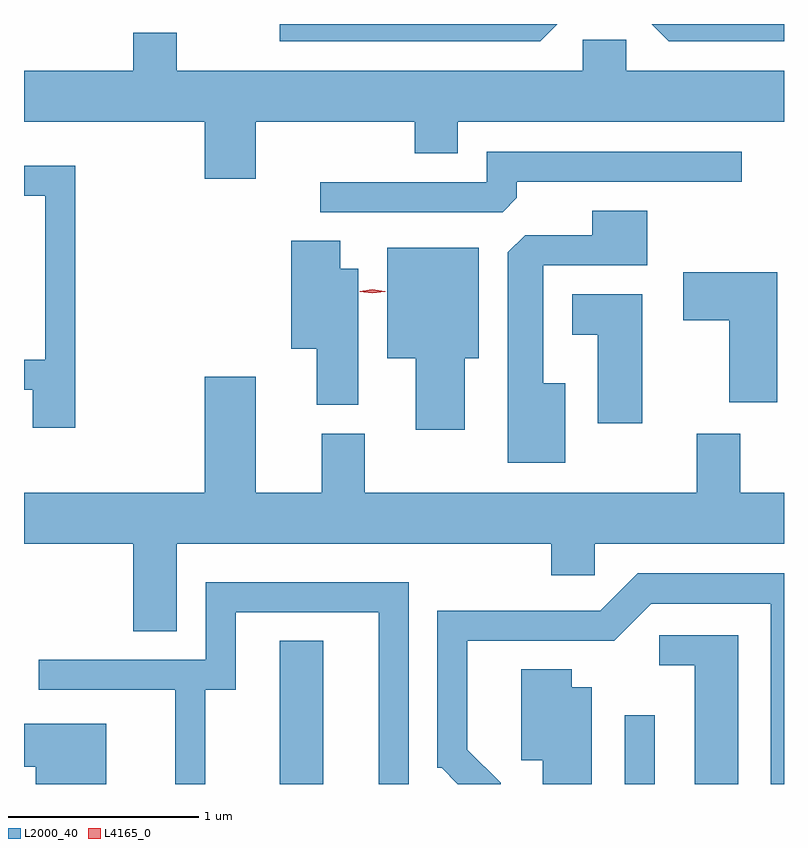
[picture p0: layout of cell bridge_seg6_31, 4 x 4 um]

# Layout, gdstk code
import gdstk
lib = gdstk.Library(unit=1e-6, precision=1e-09)
def R(c, l, rs):  # rectangles x0, y0, x1, y1
    for r in rs: c.add(gdstk.rectangle(r[:2], r[2:], *l))
def P(c, l, *ps):  # polygons
    for p in ps: c.add(gdstk.Polygon(p, *l))
L2000_40 = (2000, 40)
L4165_0 = (4165, 0)

bridge_seg6_31 = lib.new_cell('bridge_seg6_31')
R(bridge_seg6_31, L2000_40, [(1833.851,1646.451,1834.079,1647.204), (1835.666,1646.451,1835.824,1646.813)])
P(bridge_seg6_31, L2000_40, [(1835.312,1650.451),(1833.851,1650.451),(1833.851,1650.361),(1835.222,1650.361)],
  [(1836.505,1650.451),(1835.809,1650.451),(1835.899,1650.361),(1836.505,1650.361)],
  [(1833.724,1649.936),(1834.561,1649.936),(1834.561,1649.771),(1834.789,1649.771),(1834.789,1649.936),(1836.505,1649.936),(1836.505,1650.204),(1835.674,1650.204),(1835.674,1650.369),(1835.446,1650.369),(1835.446,1650.204),(1833.309,1650.204),(1833.309,1650.404),(1833.081,1650.404),(1833.081,1650.204),(1832.505,1650.204),(1832.505,1649.936),(1833.456,1649.936),(1833.456,1649.636),(1833.724,1649.636)],
  [(1835.099,1649.537),(1835.099,1649.621),(1836.283,1649.621),(1836.283,1649.779),(1834.941,1649.779),(1834.941,1649.619),(1834.063,1649.619),(1834.063,1649.461),(1835.024,1649.461)],
  [(1832.774,1649.704),(1832.505,1649.704),(1832.505,1649.546),(1832.616,1649.546),(1832.616,1648.684),(1832.505,1648.684),(1832.505,1648.526),(1832.551,1648.526),(1832.551,1648.326),(1832.774,1648.326)],
  [(1835.354,1648.559),(1835.239,1648.559),(1835.239,1649.181),(1835.784,1649.181),(1835.784,1649.469),(1835.496,1649.469),(1835.496,1649.339),(1835.142,1649.339),(1835.051,1649.249),(1835.051,1648.141),(1835.354,1648.141)],
  [(1834.264,1649.164),(1834.169,1649.164),(1834.169,1649.309),(1833.911,1649.309),(1833.911,1648.741),(1834.046,1648.741),(1834.046,1648.446),(1834.264,1648.446)],
  [(1834.824,1648.691),(1834.899,1648.691),(1834.899,1649.274),(1834.416,1649.274),(1834.416,1648.691),(1834.566,1648.691),(1834.566,1648.316),(1834.824,1648.316)],
  [(1836.469,1649.144),(1835.976,1649.144),(1835.976,1648.891),(1836.216,1648.891),(1836.216,1648.461),(1836.469,1648.461)],
  [(1835.759,1649.029),(1835.391,1649.029),(1835.391,1648.816),(1835.526,1648.816),(1835.526,1648.351),(1835.759,1648.351)],
  [(1832.505,1647.716),(1833.081,1647.716),(1833.081,1647.256),(1833.309,1647.256),(1833.309,1647.716),(1835.281,1647.716),(1835.281,1647.551),(1835.509,1647.551),(1835.509,1647.716),(1836.505,1647.716),(1836.505,1647.984),(1836.274,1647.984),(1836.274,1648.294),(1836.046,1648.294),(1836.046,1647.984),(1834.299,1647.984),(1834.299,1648.294),(1834.071,1648.294),(1834.071,1647.984),(1833.724,1647.984),(1833.724,1648.594),(1833.456,1648.594),(1833.456,1647.984),(1832.505,1647.984)],
  [(1835.014,1646.457),(1834.839,1646.632),(1834.839,1647.206),(1835.612,1647.206),(1835.807,1647.401),(1836.436,1647.401),(1836.436,1646.451),(1836.505,1646.451),(1836.505,1647.559),(1835.734,1647.559),(1835.539,1647.364),(1834.681,1647.364),(1834.681,1646.536),(1834.704,1646.536),(1834.789,1646.451),(1835.014,1646.451)],
  [(1833.459,1646.946),(1833.619,1646.946),(1833.619,1647.356),(1834.371,1647.356),(1834.371,1646.451),(1834.529,1646.451),(1834.529,1647.514),(1833.461,1647.514),(1833.461,1647.104),(1832.583,1647.104),(1832.583,1646.946),(1833.301,1646.946),(1833.301,1646.451),(1833.459,1646.451)],
  [(1836.264,1647.234),(1835.848,1647.234),(1835.848,1647.076),(1836.036,1647.076),(1836.036,1646.451),(1836.264,1646.451)],
  [(1835.494,1646.959),(1835.389,1646.959),(1835.389,1647.054),(1835.121,1647.054),(1835.121,1646.576),(1835.236,1646.576),(1835.236,1646.451),(1835.494,1646.451)],
  [(1832.939,1646.769),(1832.505,1646.769),(1832.505,1646.541),(1832.566,1646.541),(1832.566,1646.451),(1832.939,1646.451)])
P(bridge_seg6_31, L4165_0, [(1834.339,1649.034),(1834.273,1649.043),(1834.273,1649.044),(1834.273,1649.044),(1834.339,1649.054),(1834.405,1649.044),(1834.405,1649.044),(1834.405,1649.043)])

lib.write_gds('bridge_seg6_31.gds')
